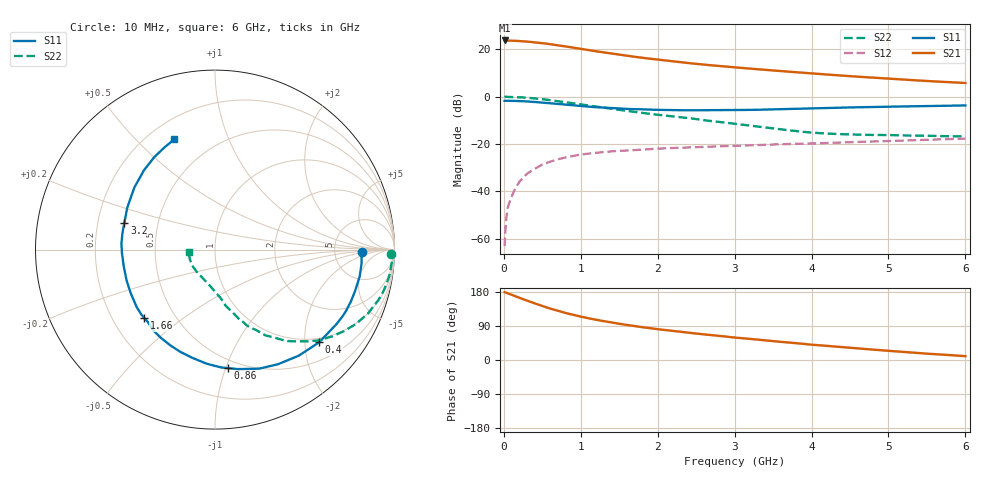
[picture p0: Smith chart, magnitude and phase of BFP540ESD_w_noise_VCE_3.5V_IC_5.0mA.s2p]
! Infineon Technologies  Discrete & RF Semiconductors
! BFP540ESD
! VCE =  3.5 V,  IC =  5.0 mA
! Common Emitter S-Parameters:  Nov 2015
# GHz  S  MA  R  50
!  f  S11  S21  S12  S22
! GHz  MAG  ANG  MAG  ANG  MAG  ANG  MAG  ANG
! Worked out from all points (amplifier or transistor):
!   210 points, 10 MHz to 6 GHz, reference 50 ohm
!   highest |S21| = 23.7 dB at 10 MHz (marker M1)
!   |S21| within 3 dB of that: start of sweep to 895.4 MHz
!   unconditionally stable (mu >= 1): 3.326 GHz to end of sweep
!   at 185 MHz: K = 0.06, MSG = 30.2 dB, |S12| = -36.8 dB
!   at 1.52 GHz: K = 0.49, MSG = 20.2 dB, |S12| = -22.9 dB
!   at 6 GHz: K = 1.23, MAG = 8.9 dB, |S12| = -17.7 dB
!   lowest NFmin = 0.69 dB at 900 MHz
!   S11 on the Smith chart (normalised r, x): 10 MHz: 9.94, -0.77; 400 MHz: 0.90, -2.34; 860 MHz: 0.43, -1.02; 1.66 GHz: 0.33, -0.36; 3.2 GHz: 0.32, +0.13; 6 GHz: 0.30, +0.65
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0.01  0.8182 -0.9  15.39 178.8  0.0007 65.5  0.9805 -1.3
0.035  0.8188 -3.9  15.26 177.1  0.003 84.2  0.9948 -2.0
0.08  0.8192 -8.4  15.23 173.7  0.0064 81.4  0.9869 -4.6
0.15  0.8149 -15.8  15.14 168.3  0.0116 80.9  0.9818 -8.7
0.24  0.8057 -25.3  14.83 161.4  0.0187 78.9  0.9667 -13.8
0.4  0.777 -41.6  14.1 149.5  0.0299 71.2  0.924 -22.6
0.5  0.7531 -51.7  13.57 142.4  0.037 66.4  0.8882 -27.8
0.6  0.7289 -61.2  12.87 135.8  0.0424 62.5  0.8486 -32.5
0.7  0.7074 -69.7  12.24 130.1  0.0477 58.4  0.809 -36.9
0.86  0.6645 -83.7  11.13 121.2  0.0546 53.3  0.7418 -43.4
1.02  0.6322 -95.7  10.12 113.6  0.0607 48.6  0.6791 -48.8
1.18  0.6036 -107.5  9.201 106.8  0.065 44.9  0.623 -53.6
1.28  0.5909 -113.7  8.703 103.2  0.0673 43.1  0.5913 -56.0
1.5  0.5662 -127.6  7.705 95.5  0.0716 39.3  0.5268 -61.3
1.66  0.5478 -136.1  7.104 90.6  0.0745 36.9  0.4865 -64.7
2.02  0.5272 -153.7  6.012 80.8  0.0803 33.5  0.4138 -70.7
2.56  0.5175 -175.5  4.823 68.5  0.0866 29.7  0.3257 -78.3
3.1  0.5246 166.4  4.034 57.5  0.0927 27.0  0.256 -85.8
3.2  0.5267 163.4  3.913 55.7  0.0941 26.5  0.2448 -87.7
4.1  0.571 140.1  3.021 38.9  0.1043 22.5  0.1705 -115.2
5.1  0.6191 122.0  2.353 22.7  0.1171 18.4  0.1535 -148.6
6  0.6548 110.4  1.947 10.1  0.1304 15.1  0.1455 -173.9
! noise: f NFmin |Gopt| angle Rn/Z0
0.9  0.69  0.1  42  0.12
1.8  0.92  0.1  123  0.11
2.4  0.94  0.12  135  0.1
3  1.1  0.2  165  0.09
4  1.26  0.29  -127  0.15
5  1.53  0.41  -101  0.32
6  1.74  0.53  -100  0.46
